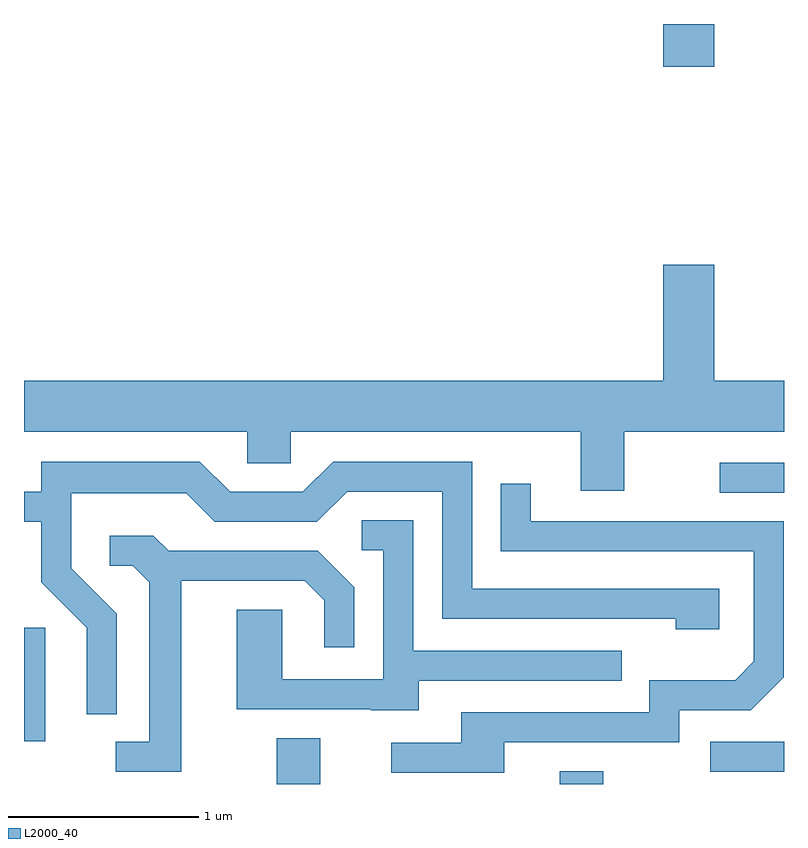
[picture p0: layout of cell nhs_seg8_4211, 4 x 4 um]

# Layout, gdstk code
import gdstk
lib = gdstk.Library(unit=1e-6, precision=1e-09)
def R(c, l, rs):  # rectangles x0, y0, x1, y1
    for r in rs: c.add(gdstk.rectangle(r[:2], r[2:], *l))
def P(c, l, *ps):  # polygons
    for p in ps: c.add(gdstk.Polygon(p, *l))
L2000_40 = (2000, 40)

nhs_seg8_4211 = lib.new_cell('nhs_seg8_4211')
R(nhs_seg8_4211, L2000_40, [(312.941,1832.342,313.169,1832.584), (314.431,1832.342,314.659,1832.409), (315.223,1832.406,315.611,1832.564), (311.611,1832.566,311.724,1833.164), (315.273,1833.876,315.611,1834.034), (314.976,1836.116,315.244,1836.342)])
P(nhs_seg8_4211, L2000_40, [(314.769,1834.196),(315.611,1834.196),(315.611,1834.464),(315.244,1834.464),(315.244,1835.074),(314.976,1835.074),(314.976,1834.464),(311.611,1834.464),(311.611,1834.196),(312.786,1834.196),(312.786,1834.031),(313.014,1834.031),(313.014,1834.196),(314.541,1834.196),(314.541,1833.886),(314.769,1833.886)],
  [(312.099,1833.237),(311.859,1833.477),(311.859,1833.871),(312.464,1833.871),(312.614,1833.721),(313.152,1833.721),(313.312,1833.881),(313.811,1833.881),(313.811,1833.211),(315.041,1833.211),(315.041,1833.156),(315.269,1833.156),(315.269,1833.369),(313.969,1833.369),(313.969,1834.039),(313.239,1834.039),(313.079,1833.879),(312.697,1833.879),(312.537,1834.039),(311.701,1834.039),(311.701,1833.879),(311.611,1833.879),(311.611,1833.721),(311.701,1833.721),(311.701,1833.404),(311.941,1833.164),(311.941,1832.708),(312.099,1832.708)],
  [(314.139,1832.561),(315.059,1832.561),(315.059,1832.731),(315.437,1832.731),(315.609,1832.904),(315.609,1833.724),(314.279,1833.724),(314.279,1833.923),(314.121,1833.923),(314.121,1833.566),(315.451,1833.566),(315.451,1832.987),(315.354,1832.889),(314.901,1832.889),(314.901,1832.719),(313.911,1832.719),(313.911,1832.559),(313.543,1832.559),(313.543,1832.401),(314.139,1832.401)],
  [(313.689,1832.886),(314.758,1832.886),(314.758,1833.044),(313.659,1833.044),(313.659,1833.729),(313.388,1833.729),(313.388,1833.571),(313.501,1833.571),(313.501,1832.894),(312.969,1832.894),(312.969,1833.259),(312.731,1833.259),(312.731,1832.736),(313.435,1832.736),(313.435,1832.731),(313.689,1832.731)],
  [(312.439,1833.411),(313.089,1833.411),(313.191,1833.309),(313.191,1833.063),(313.349,1833.063),(313.349,1833.377),(313.157,1833.569),(312.372,1833.569),(312.292,1833.649),(312.063,1833.649),(312.063,1833.491),(312.184,1833.491),(312.271,1833.404),(312.271,1832.564),(312.093,1832.564),(312.093,1832.406),(312.439,1832.406)])

lib.write_gds('nhs_seg8_4211.gds')
